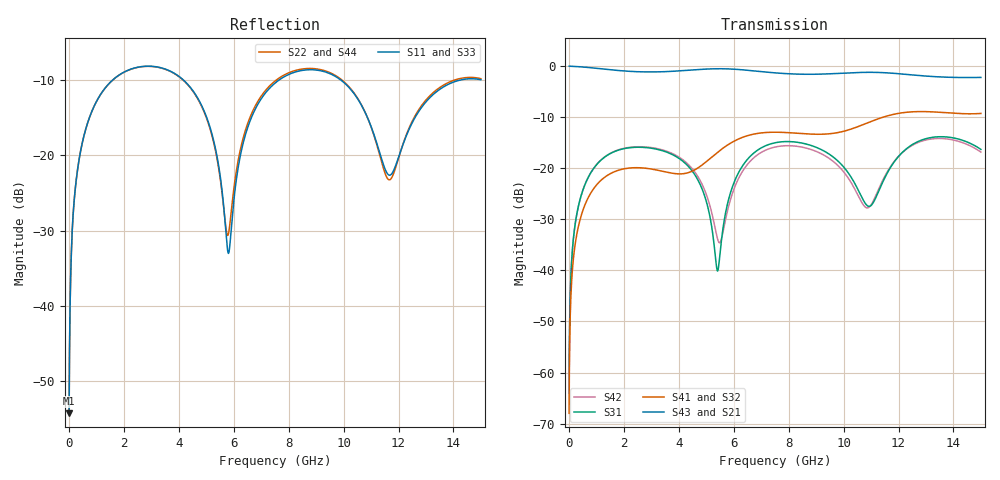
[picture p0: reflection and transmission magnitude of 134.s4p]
! Created with skrf 1.8.0 (http://scikit-rf.org).
# GHz S RI R 50.0
!freq ReS11 ImS11 ReS12 ImS12 ReS13 ImS13
! ReS14 ImS14
! ReS21 ImS21 ReS22 ImS22 ReS23 ImS23
! ReS24 ImS24
! ReS31 ImS31 ReS32 ImS32 ReS33 ImS33
! ReS34 ImS34
! ReS41 ImS41 ReS42 ImS42 ReS43 ImS43
! ReS44 ImS44
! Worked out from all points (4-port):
!   2499 points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, 5 MHz to 15 GHz, reference 50 ohm
!   strongest paths, dB at 5 MHz, 3.476 GHz, 7.19 GHz, 11.1 GHz, 15 GHz:
!     S43: 0.0, -1.1, -1.2, -1.2, -2.2
!     S21: 0.0, -1.1, -1.2, -1.2, -2.2
!     S41: -68.0, -20.7, -13.0, -10.6, -9.3
!     S32: -68.0, -20.7, -13.0, -10.6, -9.3
!     S31: -64.0, -16.7, -15.5, -26.6, -16.3
!     S42: -64.0, -16.5, -16.4, -26.2, -16.8
!   lowest |S11| = -54.2 dB at 5 MHz (marker M1), VSWR 1.00, Z = 50.2 + j0.118 ohm
!   |S11| at or under -10 dB: start of sweep to 1.585 GHz; 4.174 GHz to 7.641 GHz (3.467 GHz wide, 58.7 % of centre); 9.907 GHz to 14.23 GHz (4.32 GHz wide, 35.8 % of centre)
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0.005  0.00155 0.00117  0.9984 -0.00301  7.79e-05 0.000629  -7.57e-05 -0.000392
       0.9984 -0.00301  0.00155 0.00117  -7.57e-05 -0.000392  7.8e-05 0.000629
       7.79e-05 0.000629  -7.57e-05 -0.000392  0.00155 0.00117  0.9984 -0.00301
       -7.57e-05 -0.000392  7.8e-05 0.000629  0.9984 -0.00301  0.00155 0.00117
0.3126303  0.0218 0.0776  0.9702 -0.1879  0.01 0.0376  -0.00842 -0.0232
           0.9702 -0.1879  0.0218 0.0776  -0.00841 -0.0232  0.0102 0.0375
           0.01 0.0376  -0.00841 -0.0232  0.0218 0.0776  0.9702 -0.1879
           -0.00842 -0.0232  0.0102 0.0375  0.9702 -0.1879  0.0218 0.0776
1.569404  0.2558 0.1827  0.5796 -0.7112  0.1244 0.0689  -0.0896 -0.0111
          0.5796 -0.7112  0.2552 0.183  -0.0896 -0.0112  0.1269 0.0657
          0.1244 0.0689  -0.0896 -0.0112  0.2559 0.1827  0.5796 -0.7112
          -0.0896 -0.0111  0.1269 0.0657  0.5796 -0.7112  0.2552 0.183
5.652355  0.0243 -0.0346  -0.9302 -0.144  0.0138 0.0275  -0.0198 0.1591
          -0.9302 -0.144  0.0308 -0.0283  -0.0216 0.1589  -0.0161 0.0217
          0.0138 0.0275  -0.0216 0.1589  0.0248 -0.0362  -0.9301 -0.1444
          -0.0198 0.1591  -0.0161 0.0217  -0.9301 -0.1444  0.0309 -0.0301
9.060025  0.3664 -0.0365  0.0291 0.8314  0.1217 -0.1006  0.2043 -0.0671
          0.0291 0.8314  0.3714 -0.0498  0.2043 -0.0627  0.119 -0.0811
          0.1217 -0.1006  0.2043 -0.0627  0.3636 -0.0389  0.0303 0.8326
          0.2043 -0.0671  0.119 -0.0811  0.0303 0.8326  0.3676 -0.0481
11.7674  0.0756 0.00918  0.8499 0.0657  0.0112 0.1071  0.0105 -0.3344
         0.8499 0.0657  0.0713 0.0105  0.0181 -0.3341  0.00716 0.1092
         0.0112 0.1071  0.0181 -0.3341  0.074 0.0163  0.8501 0.0612
         0.0105 -0.3344  0.00716 0.1092  0.8501 0.0612  0.0721 0.0162
15  0.3173 -0.0271  -0.00405 -0.7769  0.0864 -0.1263  -0.3399 0.0521
    -0.00405 -0.7769  0.3207 -0.0431  -0.3399 0.0402  0.0814 -0.1189
    0.0864 -0.1263  -0.3399 0.0402  0.3236 -0.0348  -0.00746 -0.7747
    -0.3399 0.0521  0.0814 -0.1189  -0.00746 -0.7747  0.3253 -0.0381
